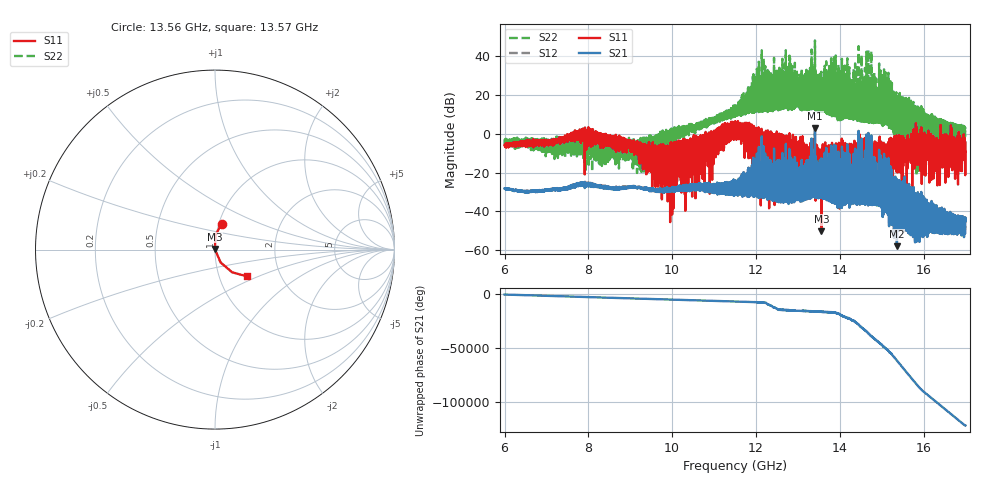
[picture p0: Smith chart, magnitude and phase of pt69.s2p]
#  HZ  S  RI  R  50.00
! Rohde & Schwarz Vector Network Analyzer
! Rohde-Schwarz,ZNA67-2Port,1332450062101215,3.01
! Created: UTC 10/16/2026, 1:51:55 PM
! freq[Hz]  re:S11  im:S11  re:S21  im:S21  re:S12  im:S12  re:S22  im:S22
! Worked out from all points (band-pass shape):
!   11001 points, 6 GHz to 17 GHz, reference 50 ohm
!   highest |S21| = 3.07 dB at 13.41 GHz (marker M1); lowest = -58.1 dB at 15.37 GHz (marker M2)
!   |S21| within 3 dB of the highest: 13.40889 GHz to 13.4091 GHz (209.2 kHz wide, 0.00156 % of centre); 14.44995 GHz to 14.45005 GHz (92.7 kHz wide, 0.000642 % of centre) (the widest 2 of 3)
!   lowest |S11| = -50.3 dB at 13.56 GHz (marker M3), VSWR 1.01, Z = 49.9 + j0.295 ohm
!   |S11| at or under -10 dB: 13.52837 GHz to 13.56839 GHz (40.02 MHz wide, 0.295 % of centre); 13.61252 GHz to 13.64739 GHz (34.87 MHz wide, 0.256 % of centre); 13.93541 GHz to 13.96257 GHz (27.16 MHz wide, 0.195 % of centre) (the widest 3 of 484)
!   |S22| runs from -21.5 to 48.3 dB; largest |S21 - S12| = 0.046
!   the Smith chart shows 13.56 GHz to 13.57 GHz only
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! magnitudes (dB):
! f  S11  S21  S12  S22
! 6 GHz  -6.1  -28.2  -28.2  -5.6
! 6.888 GHz  -5.1  -29.1  -29.1  -7.6
! 7.834 GHz  -1.0  -25.8  -25.7  -7.5
! 9.213 GHz  -5.7  -27.6  -27.5  -5.4
! 9.667 GHz  -6.6  -29.0  -29.1  -1.1
! 10.68 GHz  -0.8  -29.1  -29.1  4.6
! 11.5 GHz  6.4  -29.8  -29.8  10.2
! 12.13 GHz  2.6  -27.9  -27.8  15.8
! 12.59 GHz  -5.6  -35.5  -35.4  12.5
! 13.33 GHz  -8.3  -29.6  -29.6  15.9
! 13.41 GHz  -16.5  3.1  3.1  48.3
! 13.56 GHz  -50.3  -32.5  -32.4  12.5
! 14.45 GHz  -12.4  -35.0  -35.0  7.7
! 14.84 GHz  -4.0  -34.6  -34.6  9.0
! 15.17 GHz  -12.3  -36.7  -36.8  6.6
! 15.37 GHz  -15.6  -58.1  -58.0  -0.2
! 15.68 GHz  -8.2  -37.9  -37.8  -0.4
! 15.8 GHz  -2.7  -40.5  -40.5  3.4
! 16.19 GHz  -9.1  -41.9  -41.9  3.1
! 16.68 GHz  -14.5  -49.6  -49.5  -1.6
! 16.78 GHz  -20.6  -45.7  -45.6  2.7
! 17 GHz  -4.4  -45.2  -45.2  2.7
